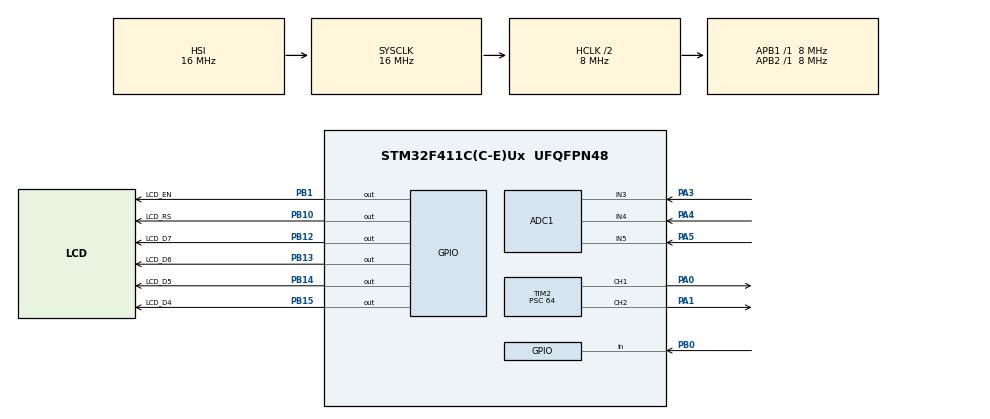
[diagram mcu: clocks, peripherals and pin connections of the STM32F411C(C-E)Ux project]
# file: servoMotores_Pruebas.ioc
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ADC1.Channel-0\#ChannelRegularConversion=ADC_CHANNEL_3
ADC1.Channel-1\#ChannelRegularConversion=ADC_CHANNEL_4
ADC1.Channel-2\#ChannelRegularConversion=ADC_CHANNEL_5
ADC1.ContinuousConvMode=ENABLE
ADC1.DMAContinuousRequests=ENABLE
ADC1.NbrOfConversion=3
ADC1.NbrOfConversionFlag=1
ADC1.Rank-0\#ChannelRegularConversion=1
ADC1.Rank-1\#ChannelRegularConversion=2
ADC1.Rank-2\#ChannelRegularConversion=3
ADC1.SamplingTime-0\#ChannelRegularConversion=ADC_SAMPLETIME_480CYCLES
ADC1.SamplingTime-1\#ChannelRegularConversion=ADC_SAMPLETIME_480CYCLES
ADC1.SamplingTime-2\#ChannelRegularConversion=ADC_SAMPLETIME_480CYCLES
ADC1.ScanConvMode=ENABLE
ADC1.master=1
Dma.ADC1.0.Direction=DMA_PERIPH_TO_MEMORY
Dma.ADC1.0.FIFOMode=DMA_FIFOMODE_DISABLE
Dma.ADC1.0.Instance=DMA2_Stream0
Dma.ADC1.0.MemDataAlignment=DMA_MDATAALIGN_WORD
Dma.ADC1.0.MemInc=DMA_MINC_ENABLE
Dma.ADC1.0.Mode=DMA_CIRCULAR
Dma.ADC1.0.PeriphDataAlignment=DMA_PDATAALIGN_WORD
Dma.ADC1.0.PeriphInc=DMA_PINC_DISABLE
Dma.ADC1.0.Priority=DMA_PRIORITY_LOW
Dma.Request0=ADC1
Mcu.Family=STM32F4
Mcu.Name=STM32F411C(C-E)Ux
Mcu.Package=UFQFPN48
NVIC.ADC_IRQn=true\:0\:0\:false\:false\:true\:true\:true\:true
NVIC.DMA2_Stream0_IRQn=true\:0\:0\:false\:false\:true\:false\:true\:true
NVIC.PriorityGroup=NVIC_PRIORITYGROUP_4
NVIC.TIM2_IRQn=true\:0\:0\:false\:false\:true\:true\:true\:true
PA0-WKUP.Signal=S_TIM2_CH1_ETR
PA1.Signal=S_TIM2_CH2
PA13.Mode=Serial_Wire
PA13.Signal=SYS_JTMS-SWDIO
PA14.Mode=Serial_Wire
PA14.Signal=SYS_JTCK-SWCLK
PA3.Signal=ADCx_IN3
PA4.Signal=ADCx_IN4
PA5.Signal=ADCx_IN5
PB0.Signal=GPIO_Input
PB1.GPIO_Label=LCD_EN
PB1.Signal=GPIO_Output
PB10.GPIO_Label=LCD_RS
PB10.Signal=GPIO_Output
PB12.GPIO_Label=LCD_D7
PB12.Signal=GPIO_Output
PB13.GPIO_Label=LCD_D6
PB13.Signal=GPIO_Output
PB14.GPIO_Label=LCD_D5
PB14.Signal=GPIO_Output
PB15.GPIO_Label=LCD_D4
PB15.Signal=GPIO_Output
PC14-OSC32_IN.Mode=LSE-External-Oscillator
PC14-OSC32_IN.Signal=RCC_OSC32_IN
PC15-OSC32_OUT.Mode=LSE-External-Oscillator
PC15-OSC32_OUT.Signal=RCC_OSC32_OUT
PH0\ -\ OSC_IN.Mode=HSE-External-Oscillator
PH0\ -\ OSC_IN.Signal=RCC_OSC_IN
PH1\ -\ OSC_OUT.Mode=HSE-External-Oscillator
PH1\ -\ OSC_OUT.Signal=RCC_OSC_OUT
ProjectManager.HeapSize=0x200
ProjectManager.StackSize=0x400
ProjectManager.TargetToolchain=STM32CubeIDE
RCC.AHBCLKDivider=RCC_SYSCLK_DIV2
RCC.AHBFreq_Value=8000000
RCC.APB1Freq_Value=8000000
RCC.APB1TimFreq_Value=8000000
RCC.APB2Freq_Value=8000000
RCC.APB2TimFreq_Value=8000000
RCC.CortexFreq_Value=8000000
RCC.HCLKFreq_Value=8000000
RCC.HSE_VALUE=25000000
RCC.HSI_VALUE=16000000
RCC.SYSCLKFreq_VALUE=16000000
RCC.VCOOutputFreq_Value=192000000
SH.ADCx_IN3.0=ADC1_IN3,IN3
SH.ADCx_IN4.0=ADC1_IN4,IN4
SH.ADCx_IN5.0=ADC1_IN5,IN5
SH.S_TIM2_CH1_ETR.0=TIM2_CH1,PWM Generation1 CH1
SH.S_TIM2_CH2.0=TIM2_CH2,PWM Generation2 CH2
TIM2.Channel-PWM\ Generation1\ CH1=TIM_CHANNEL_1
TIM2.Channel-PWM\ Generation2\ CH2=TIM_CHANNEL_2
TIM2.Period=2499
TIM2.Prescaler=64
VP_TIM2_VS_ClockSourceINT.Mode=Internal
board=custom

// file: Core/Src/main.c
/* USER CODE BEGIN Header */
/**
  ******************************************************************************
  * @file           : main.c
  * @brief          : Main program body
  ******************************************************************************
  * @attention
  *
  * Copyright (c) 2023 STMicroelectronics.
  * All rights reserved.
  *
  * This software is licensed under terms that can be found in the LICENSE file
  * in the root directory of this software component.
  * If no LICENSE file comes with this software, it is provided AS-IS.
  *
  ******************************************************************************
  */
/* USER CODE END Header */
#include "main.h"

/* USER CODE BEGIN Includes */
#include "lcd.h"
#include <stdio.h>
#include <string.h>

/* USER CODE END Includes */

ADC_HandleTypeDef hadc1;
DMA_HandleTypeDef hdma_adc1;

TIM_HandleTypeDef htim2;

/* USER CODE BEGIN PV */
LCD_t lcd;

volatile uint32_t adcVal[3];
int gripper=0, art = 0, objectHeld = 0;
int adcGripper = 0, adcArt = 0, adcPresion = 0;
/*Conocemos los valores PWM para que los motores permitan
que el gripper y la articulación se comporten de determinada
manera, así que se almacenan en variables para referencias si son necesarias */
int gripperOpen = 75, gripperClosed = 123;
int artNinety = 197, artZero = 83;

char gripperCase[30];
int gripperState;

//Bandera para dejar de correr el estado de reposo (gripper cerrado y articulación en 0°)
int inicio = 0;
/* USER CODE END PV */

void SystemClock_Config(void);
static void MX_GPIO_Init(void);
static void MX_DMA_Init(void);
static void MX_TIM2_Init(void);
static void MX_ADC1_Init(void);
/* USER CODE BEGIN PFP */
void pushDetect(void);
void printLCD(int, int);

void gripperControl(int, int);
/* USER CODE END PFP */

int main(void)
{

  /* MCU Configuration--------------------------------------------------------*/

  /* Reset of all peripherals, Initializes the Flash interface and the Systick. */
   HAL_Init();

  /* Configure the system clock */
  SystemClock_Config();

  /* Initialize all configured peripherals */
  MX_GPIO_Init();
  MX_DMA_Init();
  MX_TIM2_Init();
  MX_ADC1_Init();
  /* USER CODE BEGIN 2 */
  HAL_TIM_PWM_Start(&htim2, TIM_CHANNEL_2);
  HAL_TIM_PWM_Start(&htim2, TIM_CHANNEL_1);
  HAL_ADC_Start_DMA(&hadc1, adcVal, 3);

  //--------------------------------LCD SETTINGS-------------------------------------
  lcd.RS_port = LCD_RS_GPIO_Port;
  lcd.RS_pin = LCD_RS_Pin;
  lcd.EN_port = LCD_EN_GPIO_Port;
  lcd.EN_pin = LCD_EN_Pin;
  lcd.D4_port = LCD_D4_GPIO_Port;
  lcd.D4_pin = LCD_D4_Pin;
  lcd.D5_port = LCD_D5_GPIO_Port;
  lcd.D5_pin = LCD_D5_Pin;
  lcd.D6_port = LCD_D6_GPIO_Port;
  lcd.D6_pin = LCD_D6_Pin;
  lcd.D7_port = LCD_D7_GPIO_Port;
  lcd.D7_pin = LCD_D7_Pin;

  //--------INICIALIZANDO EL LCD------------
  lcd_begin(&lcd, 16, 2, LCD_5x8DOTS);

  //DATOS DE REFERENCIA
  /* GRIPPER */
  //Cerrado
  //TIM2->CCR1 = 131;
  //gripper = 131;
  //Abierto
  //TIM2->CCR1 = 60;
  //gripper = 60;

  /* ARTICULACIÓN */
  //0 grados
  //TIM2->CCR2 = 83;
  //90 grados
  //TIM2->CCR2 = 197;
  /* USER CODE END 2 */

  /* Infinite loop */
  /* USER CODE BEGIN WHILE */
  while (1)
  {
	  if(inicio == 0)
	  {
		  //INICIAMOS CON EL GRIPPER CERRADO Y LA ARTICULACIÓN EN REPOSO
		  //Gripper cerrado
		  TIM2->CCR1 = gripperClosed;
		  gripper = gripperClosed;
		  //Articulación en 0 grados
		  TIM2->CCR2 = 83;
		  art = 0;
		  inicio = 1;
	  }

	  //Basándonos en los valores de inicio,
	  //comienza a correr el control del gripper
	  pushDetect();
	  HAL_Delay(200);
	  gripperControl(gripper, objectHeld);

    /* USER CODE END WHILE */

  }
}

void SystemClock_Config(void)
{
  RCC_OscInitTypeDef RCC_OscInitStruct = {0};
  RCC_ClkInitTypeDef RCC_ClkInitStruct = {0};

  /** Configure the main internal regulator output voltage
  */
  __HAL_RCC_PWR_CLK_ENABLE();
  __HAL_PWR_VOLTAGESCALING_CONFIG(PWR_REGULATOR_VOLTAGE_SCALE1);

  /** Initializes the RCC Oscillators according to the specified parameters
  * in the RCC_OscInitTypeDef structure.
  */
  RCC_OscInitStruct.OscillatorType = RCC_OSCILLATORTYPE_HSI;
  RCC_OscInitStruct.HSIState = RCC_HSI_ON;
  RCC_OscInitStruct.HSICalibrationValue = RCC_HSICALIBRATION_DEFAULT;
  RCC_OscInitStruct.PLL.PLLState = RCC_PLL_NONE;
  if (HAL_RCC_OscConfig(&RCC_OscInitStruct) != HAL_OK)
  {
    Error_Handler();
  }

  /** Initializes the CPU, AHB and APB buses clocks
  */
  RCC_ClkInitStruct.ClockType = RCC_CLOCKTYPE_HCLK|RCC_CLOCKTYPE_SYSCLK
                              |RCC_CLOCKTYPE_PCLK1|RCC_CLOCKTYPE_PCLK2;
  RCC_ClkInitStruct.SYSCLKSource = RCC_SYSCLKSOURCE_HSI;
  RCC_ClkInitStruct.AHBCLKDivider = RCC_SYSCLK_DIV2;
  RCC_ClkInitStruct.APB1CLKDivider = RCC_HCLK_DIV1;
  RCC_ClkInitStruct.APB2CLKDivider = RCC_HCLK_DIV1;

  if (HAL_RCC_ClockConfig(&RCC_ClkInitStruct, FLASH_LATENCY_0) != HAL_OK)
  {
    Error_Handler();
  }
}

static void MX_ADC1_Init(void)
{

  ADC_ChannelConfTypeDef sConfig = {0};

  /** Configure the global features of the ADC (Clock, Resolution, Data Alignment and number of conversion)
  */
  hadc1.Instance = ADC1;
  hadc1.Init.ClockPrescaler = ADC_CLOCK_SYNC_PCLK_DIV2;
  hadc1.Init.Resolution = ADC_RESOLUTION_12B;
  hadc1.Init.ScanConvMode = ENABLE;
  hadc1.Init.ContinuousConvMode = ENABLE;
  hadc1.Init.DiscontinuousConvMode = DISABLE;
  hadc1.Init.ExternalTrigConvEdge = ADC_EXTERNALTRIGCONVEDGE_NONE;
  hadc1.Init.ExternalTrigConv = ADC_SOFTWARE_START;
  hadc1.Init.DataAlign = ADC_DATAALIGN_RIGHT;
  hadc1.Init.NbrOfConversion = 3;
  hadc1.Init.DMAContinuousRequests = ENABLE;
  hadc1.Init.EOCSelection = ADC_EOC_SINGLE_CONV;
  if (HAL_ADC_Init(&hadc1) != HAL_OK)
  {
    Error_Handler();
  }

  /** Configure for the selected ADC regular channel its corresponding rank in the sequencer and its sample time.
  */
  sConfig.Channel = ADC_CHANNEL_3;
  sConfig.Rank = 1;
  sConfig.SamplingTime = ADC_SAMPLETIME_480CYCLES;
  if (HAL_ADC_ConfigChannel(&hadc1, &sConfig) != HAL_OK)
  {
    Error_Handler();
  }

  /** Configure for the selected ADC regular channel its corresponding rank in the sequencer and its sample time.
  */
  sConfig.Channel = ADC_CHANNEL_4;
  sConfig.Rank = 2;
  if (HAL_ADC_ConfigChannel(&hadc1, &sConfig) != HAL_OK)
  {
    Error_Handler();
  }

  /** Configure for the selected ADC regular channel its corresponding rank in the sequencer and its sample time.
  */
  sConfig.Channel = ADC_CHANNEL_5;
  sConfig.Rank = 3;
  if (HAL_ADC_ConfigChannel(&hadc1, &sConfig) != HAL_OK)
  {
    Error_Handler();
  }

}

static void MX_TIM2_Init(void)
{

  TIM_ClockConfigTypeDef sClockSourceConfig = {0};
  TIM_MasterConfigTypeDef sMasterConfig = {0};
  TIM_OC_InitTypeDef sConfigOC = {0};

  htim2.Instance = TIM2;
  htim2.Init.Prescaler = 64;
  htim2.Init.CounterMode = TIM_COUNTERMODE_UP;
  htim2.Init.Period = 2499;
  htim2.Init.ClockDivision = TIM_CLOCKDIVISION_DIV1;
  htim2.Init.AutoReloadPreload = TIM_AUTORELOAD_PRELOAD_DISABLE;
  if (HAL_TIM_Base_Init(&htim2) != HAL_OK)
  {
    Error_Handler();
  }
  sClockSourceConfig.ClockSource = TIM_CLOCKSOURCE_INTERNAL;
  if (HAL_TIM_ConfigClockSource(&htim2, &sClockSourceConfig) != HAL_OK)
  {
    Error_Handler();
  }
  if (HAL_TIM_PWM_Init(&htim2) != HAL_OK)
  {
    Error_Handler();
  }
  sMasterConfig.MasterOutputTrigger = TIM_TRGO_RESET;
  sMasterConfig.MasterSlaveMode = TIM_MASTERSLAVEMODE_DISABLE;
  if (HAL_TIMEx_MasterConfigSynchronization(&htim2, &sMasterConfig) != HAL_OK)
  {
    Error_Handler();
  }
  sConfigOC.OCMode = TIM_OCMODE_PWM1;
  sConfigOC.Pulse = 0;
  sConfigOC.OCPolarity = TIM_OCPOLARITY_HIGH;
  sConfigOC.OCFastMode = TIM_OCFAST_DISABLE;
  if (HAL_TIM_PWM_ConfigChannel(&htim2, &sConfigOC, TIM_CHANNEL_1) != HAL_OK)
  {
    Error_Handler();
  }
  if (HAL_TIM_PWM_ConfigChannel(&htim2, &sConfigOC, TIM_CHANNEL_2) != HAL_OK)
  {
    Error_Handler();
  }
  HAL_TIM_MspPostInit(&htim2);

}

static void MX_DMA_Init(void)
{

  /* DMA controller clock enable */
  __HAL_RCC_DMA2_CLK_ENABLE();

  /* DMA interrupt init */
  /* DMA2_Stream0_IRQn interrupt configuration */
  HAL_NVIC_SetPriority(DMA2_Stream0_IRQn, 0, 0);
  HAL_NVIC_EnableIRQ(DMA2_Stream0_IRQn);

}

static void MX_GPIO_Init(void)
{
  GPIO_InitTypeDef GPIO_InitStruct = {0};

  /* GPIO Ports Clock Enable */
  __HAL_RCC_GPIOC_CLK_ENABLE();
  __HAL_RCC_GPIOH_CLK_ENABLE();
  __HAL_RCC_GPIOA_CLK_ENABLE();
  __HAL_RCC_GPIOB_CLK_ENABLE();

  /*Configure GPIO pin Output Level */
  HAL_GPIO_WritePin(GPIOB, LCD_EN_Pin|LCD_RS_Pin|LCD_D7_Pin|LCD_D6_Pin
                          |LCD_D5_Pin|LCD_D4_Pin, GPIO_PIN_RESET);

  /*Configure GPIO pin : PB0 */
  GPIO_InitStruct.Pin = GPIO_PIN_0;
  GPIO_InitStruct.Mode = GPIO_MODE_INPUT;
  GPIO_InitStruct.Pull = GPIO_NOPULL;
  HAL_GPIO_Init(GPIOB, &GPIO_InitStruct);

  /*Configure GPIO pins : LCD_EN_Pin LCD_RS_Pin LCD_D7_Pin LCD_D6_Pin
                           LCD_D5_Pin LCD_D4_Pin */
  GPIO_InitStruct.Pin = LCD_EN_Pin|LCD_RS_Pin|LCD_D7_Pin|LCD_D6_Pin
                          |LCD_D5_Pin|LCD_D4_Pin;
  GPIO_InitStruct.Mode = GPIO_MODE_OUTPUT_PP;
  GPIO_InitStruct.Pull = GPIO_NOPULL;
  GPIO_InitStruct.Speed = GPIO_SPEED_FREQ_LOW;
  HAL_GPIO_Init(GPIOB, &GPIO_InitStruct);

}

/* USER CODE BEGIN 4 */
void HAL_ADC_ConvCpltCallback(ADC_HandleTypeDef* hadc)
{
	adcGripper = adcVal[0];
	adcArt = adcVal[1];
	adcPresion = adcVal[2];
}

void pushDetect(void)
{
	if(HAL_GPIO_ReadPin(GPIOB, GPIO_PIN_0) == GPIO_PIN_RESET)
	{
		objectHeld = 0;
    }
	else
	{
	    objectHeld = 1;
	}
}

void printLCD(int gripper, int articulacion)
{
	  char bufferG[10];
	  char buffer_Gripper[4];
	  char bufferA[14];
	  char buffer_Art[2];

	  //Gripper
	  lcd_setCursor(&lcd, 0, 0);
	  sprintf(bufferG, "Gripper: ");
	  lcd_print(&lcd, bufferG);

	  //Estado
	  lcd_setCursor(&lcd, 9, 0);
	  sprintf(buffer_Gripper, "%u", gripper);
	  lcd_print(&lcd, buffer_Gripper);

	  sprintf(buffer_Gripper, "   ");
	  lcd_print(&lcd, buffer_Gripper);

	  //Articulacion
	  lcd_setCursor(&lcd, 0, 1);
	  sprintf(bufferA, "Articulation:");
	  lcd_print(&lcd, bufferA);

	  //Estado
	  lcd_setCursor(&lcd, 12, 1);
	  sprintf(buffer_Art, "%u", articulacion);
	  lcd_print(&lcd, buffer_Art);

	  sprintf(buffer_Art, " ");
	  lcd_print(&lcd, buffer_Art);

	  HAL_Delay(1);
}

void gripperControl(int gripper, int objectHeld)
{
	if(TIM2->CCR1 == gripperClosed)
	{
		if (objectHeld == 1)
		{
			gripperState = 0;
		}
		else
		{
			gripperState = 1;
		}

	}
	else
	{
		gripperState = 2;
	}

	switch (gripperState) {
	    case 0: //GRIPPER CERRADO CON OBJETO
	    	TIM2->CCR2 = 197;
	    	HAL_Delay(500);
	        break;
	    case 1: //GRIPPER CERRADO SIN OBJETO
	    	TIM2->CCR1 = gripperOpen;
	    	//Articulación en 0 grados
	    	TIM2->CCR2 = 83;
	    	HAL_Delay(1000);
	        break;
	    case 2: //GRIPPER ABIERTO
 	    	TIM2->CCR2 = 83;
	    	TIM2->CCR1 = gripperClosed;
	       	//Articulación en 0 grados
	    	if (objectHeld == 1)
	    	{
	    		gripperState = 0;
	    	}
	    	else
	    		gripperState = 1;

	    	HAL_Delay(1000);
 	    	break;
	    default: //REGRESAMOS A ESTADO DE REPOSO
	    	TIM2->CCR1 = gripperClosed;
   		    gripper = gripperClosed;
	    	//Articulación en 0 grados
	    	TIM2->CCR2 = 83;
	    	art = 0;
	    	HAL_Delay(1000);
	        break;
	}

}

/* USER CODE END 4 */

void Error_Handler(void)
{
  __disable_irq();
  while (1)
  {
  }
}
